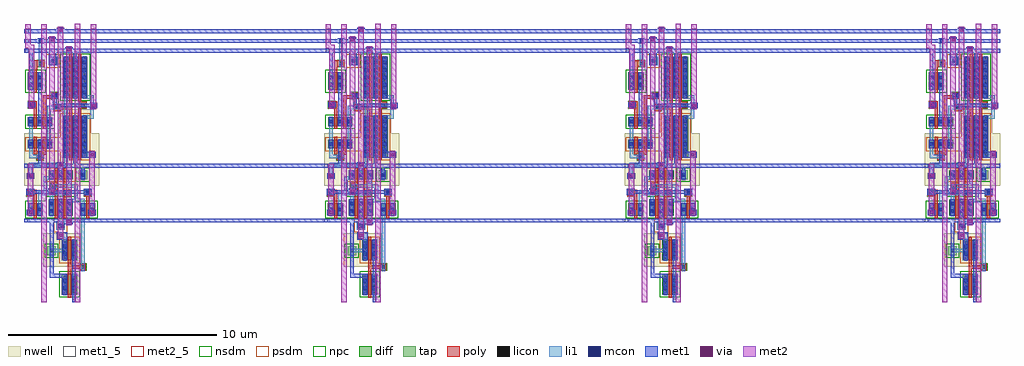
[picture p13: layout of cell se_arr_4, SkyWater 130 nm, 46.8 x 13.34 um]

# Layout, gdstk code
import gdstk
lib = gdstk.Library(unit=1e-6, precision=5e-09)
def R(c, l, rs):  # rectangles x0, y0, x1, y1
    for r in rs: c.add(gdstk.rectangle(r[:2], r[2:], *l))
def A(c, l, x, y, w, h, nx, ny, dx, dy):  # array of equal rectangles
    R(c, l, [(x+i*dx, y+j*dy, x+i*dx+w, y+j*dy+h) for i in range(nx) for j in range(ny)])
nwell = (64, 20)
diff = (65, 20)
tap = (65, 44)
poly = (66, 20)
licon = (66, 44)
li1 = (67, 20)
mcon = (67, 44)
met1_5 = (68, 5)
met1 = (68, 20)
via = (68, 44)
met2_5 = (69, 5)
met2 = (69, 20)
nsdm = (93, 44)
psdm = (94, 20)
npc = (95, 20)

se_amp_f = lib.new_cell('se_amp_f')
R(se_amp_f, nwell, [(0.935,1.685,2.725,3.305), (0,5.58,3.6,8.095), (1.69,8.095,3.22,9.24)])
R(se_amp_f, diff, [(1.815,0.345,2.545,1.345), (1.815,1.995,2.545,2.995), (0.175,4.14,0.905,4.74), (1.175,4.14,2.345,4.94), (2.685,4.14,3.415,4.74), (1.175,5.89,2.345,6.31), (1.87,6.93,3.04,8.93), (0.18,7.365,1.35,7.785), (0.18,8.44,1.35,8.86), (1.87,9.77,3.04,11.77), (0.18,10.17,0.91,11.01)])
R(se_amp_f, tap, [(1.115,2.255,1.525,2.675), (1.55,3.46,1.96,3.87), (2.615,5.89,3.025,6.31), (1.185,11.355,1.595,11.765)])
R(se_amp_f, poly, [(2.105,0.215,2.255,1.59), (2.69,1.51,2.965,1.59), (2.105,1.59,2.965,1.76), (2.105,1.76,2.255,3.125), (2.69,1.76,2.965,1.84), (0.465,4.01,0.615,5.065), (1.465,4.01,1.615,5.43), (1.905,4.01,2.055,5.045), (2.975,4.01,3.125,5.065), (1.905,5.045,2.235,5.375), (0.135,5.065,0.615,5.395), (2.89,5.065,3.22,5.395), (1.905,5.375,2.055,6.44), (1.285,5.43,1.615,5.715), (1.465,5.715,1.615,6.44), (2.16,6.8,2.31,9.24), (2.6,6.8,2.75,9.29), (0.6,6.805,0.93,7.055), (0.47,7.055,1.06,7.235), (0.47,7.235,0.62,7.915), (0.91,7.235,1.06,7.915), (0.47,8.31,0.62,9.295), (0.91,8.31,1.06,9.76), (1.43,9.16,1.76,9.24), (1.43,9.24,2.31,9.41), (2.6,9.29,3,9.615), (0.195,9.295,0.62,9.625), (1.43,9.41,1.76,9.49), (2.16,9.41,2.31,11.9), (2.6,9.615,2.75,11.9), (0.91,9.76,1.64,9.91), (1.31,9.91,1.64,10.035), (0.47,10.04,0.62,11.14), (0.47,11.14,0.625,11.275), (0.47,11.275,0.965,11.605)])
A(se_amp_f, licon, 1.875, 0.42, 0.17, 0.17, 1, 3, 0, 0.34)
A(se_amp_f, licon, 2.315, 0.42, 0.17, 0.17, 1, 3, 0, 0.34)
A(se_amp_f, licon, 1.875, 2.07, 0.17, 0.17, 1, 3, 0, 0.34)
A(se_amp_f, licon, 2.315, 2.07, 0.17, 0.17, 1, 3, 0, 0.34)
A(se_amp_f, licon, 1.235, 4.285, 0.17, 0.17, 3, 2, 0.44, 0.34)
A(se_amp_f, licon, 1.235, 6.015, 0.17, 0.17, 3, 1, 0.44, 0)
A(se_amp_f, licon, 1.93, 6.995, 0.17, 0.17, 3, 6, 0.44, 0.34)
A(se_amp_f, licon, 0.24, 7.49, 0.17, 0.17, 3, 2, 0.44, 1.075)
A(se_amp_f, licon, 1.93, 9.835, 0.17, 0.17, 3, 6, 0.44, 0.34)
R(se_amp_f, licon, [(2.745,1.59,2.915,1.76), (1.235,2.38,1.405,2.55), (1.675,3.58,1.845,3.75), (0.235,4.355,0.405,4.525), (0.675,4.355,0.845,4.525), (2.745,4.355,2.915,4.525), (3.185,4.355,3.355,4.525), (1.985,5.13,2.155,5.3), (0.215,5.145,0.385,5.315), (2.97,5.145,3.14,5.315), (1.365,5.485,1.535,5.655), (2.735,6.015,2.905,6.185), (0.68,6.885,0.85,7.055), (1.51,9.24,1.68,9.41), (2.75,9.365,2.92,9.535), (0.275,9.375,0.445,9.545), (1.39,9.81,1.56,9.98), (0.24,10.335,0.41,10.505), (0.68,10.335,0.85,10.505), (0.24,10.675,0.41,10.845), (0.68,10.675,0.85,10.845), (0.715,11.355,0.885,11.525), (1.31,11.475,1.48,11.645)])
R(se_amp_f, li1, [(1.875,0.325,2.045,1.365), (2.315,0.325,2.485,1.365), (2.745,1.485,2.915,4.79), (1.875,1.975,2.045,2.385), (2.315,1.975,2.485,3.015), (1.235,2.195,1.405,2.385), (1.235,2.385,2.045,2.555), (1.235,2.555,1.405,2.735), (1.875,2.555,2.045,3.015), (1.55,3.46,1.96,3.87), (0.235,4.12,0.405,4.76), (0.675,4.12,0.845,5.13), (1.235,4.12,1.405,5.13), (1.675,4.12,1.845,4.96), (2.115,4.12,2.285,4.79), (3.185,4.12,3.355,4.76), (2.115,4.79,2.915,4.96), (2.405,4.96,2.575,5.485), (0.675,5.13,2.235,5.3), (0.135,5.145,0.465,5.315), (2.89,5.145,3.22,5.315), (0.945,5.3,1.115,5.87), (0.17,5.315,0.43,5.405), (2.925,5.315,3.185,5.405), (1.285,5.485,2.575,5.655), (2.115,5.655,2.285,6.33), (2.735,5.83,2.905,6.37), (0.945,5.87,1.405,6.04), (1.675,5.87,1.845,6.33), (0.23,5.965,0.4,6.52), (1.235,6.04,1.405,6.33), (0.23,6.52,2.1,6.69), (1.93,6.69,2.1,9.365), (0.24,6.885,0.93,7.055), (2.37,6.91,2.54,8.95), (2.81,6.91,2.98,8.785), (0.24,7.055,0.41,8.88), (0.68,7.345,0.85,7.805), (1.12,7.345,1.29,9.24), (0.68,8.42,0.85,8.88), (2.81,8.785,3.34,8.955), (3.17,8.955,3.34,9.75), (1.12,9.24,1.76,9.41), (1.93,9.365,3,9.535), (0.195,9.375,0.525,9.545), (1.93,9.535,2.1,11.79), (2.37,9.75,2.54,11.79), (2.81,9.75,3.34,9.92), (1.31,9.81,1.64,9.98), (2.81,9.92,2.98,11.79), (0.24,10.15,0.41,11.03), (0.68,10.15,0.85,11.03), (0.715,11.275,0.885,12.61), (1.185,11.355,1.595,11.765)])
A(se_amp_f, mcon, 1.235, 4.275, 0.17, 0.17, 3, 2, 0.44, 0.36)
A(se_amp_f, mcon, 1.235, 6.015, 0.17, 0.17, 3, 1, 0.44, 0)
A(se_amp_f, mcon, 1.93, 7.125, 0.17, 0.17, 3, 5, 0.44, 0.36)
A(se_amp_f, mcon, 0.24, 7.49, 0.17, 0.17, 3, 2, 0.44, 1.075)
A(se_amp_f, mcon, 1.93, 9.965, 0.17, 0.17, 3, 5, 0.44, 0.36)
R(se_amp_f, mcon, [(1.875,0.58,2.045,0.75), (2.315,0.58,2.485,0.75), (1.875,0.94,2.045,1.11), (2.315,0.94,2.485,1.11), (1.875,2.23,2.045,2.4), (2.315,2.23,2.485,2.4), (1.875,2.59,2.045,2.76), (2.315,2.59,2.485,2.76), (1.675,3.58,1.845,3.75), (0.235,4.355,0.405,4.525), (0.675,4.355,0.845,4.525), (2.745,4.355,2.915,4.525), (3.185,4.355,3.355,4.525), (0.215,5.19,0.385,5.36), (2.97,5.19,3.14,5.36), (0.23,5.965,0.4,6.135), (2.735,6.015,2.905,6.185), (0.275,9.375,0.445,9.545), (1.39,9.81,1.56,9.98), (0.24,10.325,0.41,10.495), (0.68,10.325,0.85,10.495), (0.24,10.685,0.41,10.855), (0.68,10.685,0.85,10.855), (1.31,11.475,1.48,11.645), (0.715,12.44,0.885,12.61)])
R(se_amp_f, met1_5, [(2.315,0,2.485,0.17), (0,3.83,0.17,4), (0,6.45,0.17,6.62), (0.06,11.965,0.23,12.135), (0.06,12.44,0.23,12.61), (0.06,12.9,0.23,13.07)])
A(se_amp_f, met1, 1.205, 4.14, 0.23, 0.8, 3, 1, 0.44, 0)
A(se_amp_f, met1, 1.205, 5.89, 0.23, 0.42, 3, 1, 0.44, 0)
A(se_amp_f, met1, 0.21, 7.365, 0.23, 0.42, 3, 2, 0.44, 1.075)
A(se_amp_f, met1, 1.9, 9.77, 0.23, 2, 3, 1, 0.44, 0)
R(se_amp_f, met1, [(2.315,0,2.485,0.345), (1.845,0.345,2.075,1.175), (2.285,0.345,2.515,1.345), (1.245,1.175,2.075,1.345), (1.245,1.345,1.415,3.83), (2.315,1.345,2.485,1.995), (1.845,1.995,2.075,2.995), (2.285,1.995,2.515,2.995), (1.58,2.995,2.075,3.345), (1.615,3.55,1.905,3.555), (1.615,3.555,1.91,3.74), (1.615,3.74,2.34,3.83), (0,3.83,3.6,4), (1.675,4,1.845,4.14), (0.205,4.14,0.435,4.17), (0.645,4.14,0.875,4.74), (2.715,4.14,2.945,4.74), (3.155,4.14,3.385,4.17), (0.14,4.17,0.5,4.43), (3.09,4.17,3.45,4.43), (0.205,4.43,0.435,4.74), (3.155,4.43,3.385,4.74), (0.11,5.115,0.49,5.19), (2.865,5.115,3.245,5.19), (0.11,5.19,3.245,5.36), (0.11,5.36,0.49,5.435), (1.17,5.36,1.53,5.45), (2.865,5.36,3.245,5.435), (2.705,5.89,2.935,6.31), (0.135,5.92,0.5,6.18), (1.675,6.31,1.845,6.45), (2.735,6.31,2.905,6.45), (0,6.45,3.6,6.62), (0.675,6.62,0.85,7.365), (1.58,6.62,1.94,6.71), (2.37,6.62,2.545,6.93), (1.9,6.93,2.13,8.93), (2.34,6.93,2.57,8.93), (2.78,6.93,3.45,7.195), (2.78,7.195,3.01,8.93), (0.68,8.86,0.85,10.17), (3.15,9.29,3.51,9.335), (0.18,9.33,0.54,9.59), (1.39,9.335,3.51,9.505), (1.39,9.505,1.56,9.78), (3.15,9.505,3.51,9.55), (1.33,9.78,1.62,10.01), (0.21,10.17,0.44,11.01), (0.65,10.17,0.88,11.01), (0.24,11.01,0.41,11.965), (1.185,11.355,1.545,11.965), (2.37,11.77,2.54,11.965), (0,11.965,3.6,12.135), (1.98,12.135,2.34,12.225), (0.655,12.41,0.945,12.44), (0,12.44,3.6,12.61), (0.655,12.61,0.945,12.64), (1.17,12.61,1.53,12.7), (0,12.9,3.6,13.07), (1.58,13.07,1.94,13.16)])
R(se_amp_f, via, [(1.685,3.135,1.835,3.285), (2.085,3.795,2.235,3.945), (0.245,4.225,0.395,4.375), (3.195,4.225,3.345,4.375), (1.275,5.245,1.425,5.395), (0.24,5.975,0.39,6.125), (1.685,6.505,1.835,6.655), (3.195,6.99,3.345,7.14), (3.255,9.345,3.405,9.495), (0.285,9.385,0.435,9.535), (2.085,12.02,2.235,12.17), (1.275,12.495,1.425,12.645), (1.685,12.955,1.835,13.105)])
R(se_amp_f, met2_5, [(0.06,13.07,0.32,13.33), (0.82,13.07,1.08,13.33), (3.2,13.07,3.46,13.33), (2.44,13.075,2.7,13.335)])
R(se_amp_f, met2, [(0.82,0,1.08,13.33), (2.44,0,2.7,13.335), (1.63,3.03,1.89,13.195), (2.03,3.69,2.29,12.275), (0.19,4.14,0.45,5.87), (3.14,4.14,3.4,7.245), (1.22,5.14,1.48,12.75), (0.185,5.87,0.45,6.23), (0.19,6.23,0.45,6.62), (3.2,9.24,3.46,13.33), (0.23,9.28,0.49,12.17), (0.06,12.17,0.49,12.34), (0.06,12.34,0.32,13.33)])
R(se_amp_f, nsdm, [(1.69,0.22,2.67,1.47), (0.99,2.13,1.65,2.8), (0.05,4.015,3.54,4.865), (1.05,4.865,2.47,5.065), (2.49,5.765,3.15,6.435), (0.055,8.315,1.475,8.985), (1.745,9.645,3.165,11.895), (0.055,10.045,1.035,11.135)])
R(se_amp_f, psdm, [(1.69,1.87,2.67,3.12), (1.69,3.12,2.085,3.335), (1.425,3.335,2.085,3.995), (1.05,5.765,2.47,6.435), (1.745,6.435,2.47,6.805), (1.745,6.805,3.165,7.24), (0.055,7.24,3.165,7.91), (1.745,7.91,3.165,9.055), (1.06,11.23,1.72,11.89)])
R(se_amp_f, npc, [(2.645,1.49,3.015,1.86), (1.885,5.03,2.255,5.255), (0.115,5.045,0.485,5.415), (2.87,5.045,3.24,5.415), (1.405,5.255,2.255,5.385), (1.265,5.385,2.255,5.4), (1.265,5.4,2.115,5.53), (1.265,5.53,1.635,5.755), (0.58,6.785,0.95,7.155), (1.41,9.14,1.78,9.435), (2.65,9.265,3.02,9.635), (0.175,9.275,0.545,9.645), (1.4,9.435,1.78,9.51), (1.4,9.51,1.67,9.71), (1.29,9.71,1.67,9.785), (1.29,9.785,1.66,10.08), (0.615,11.255,0.985,11.625)])
se_amp_f.add(gdstk.Label('DR_', (0.19,13.2), layer=69, texttype=5))
se_amp_f.add(gdstk.Label('DW_', (0.95,13.2), layer=69, texttype=5))
se_amp_f.add(gdstk.Label('DW', (2.57,13.205), layer=69, texttype=5))
se_amp_f.add(gdstk.Label('DR', (3.33,13.2), layer=69, texttype=5))
se_amp_f.add(gdstk.Label('VDD', (0.145,12.985), layer=68, texttype=5))
se_amp_f.add(gdstk.Label('SAEN', (0.145,12.525), layer=68, texttype=5))
se_amp_f.add(gdstk.Label('VSS', (0.145,12.05), layer=68, texttype=5))
se_amp_f.add(gdstk.Label('SB', (2.4,0.085), layer=68, texttype=5))
se_amp_f.add(gdstk.Label('VDD', (0.085,6.535), layer=68, texttype=5))
se_amp_f.add(gdstk.Label('VSS', (0.085,3.915), layer=68, texttype=5))

se_arr_4 = lib.new_cell('se_arr_4')
R(se_arr_4, met1, [(0.085,3.83,43.345,4), (0.085,3.83,43.345,4), (0.085,3.83,43.345,4), (0.085,3.83,43.345,4), (0.085,6.45,43.345,6.62), (0.085,6.45,43.345,6.62), (0.085,6.45,43.345,6.62), (0.085,6.45,43.345,6.62), (0.085,11.965,43.345,12.135), (0.085,11.965,43.345,12.135), (0.085,11.965,43.345,12.135), (0.085,11.965,43.345,12.135), (0.085,12.44,43.345,12.61), (0.085,12.44,43.345,12.61), (0.085,12.44,43.345,12.61), (0.085,12.44,43.345,12.61), (0.085,12.9,43.345,13.07), (0.085,12.9,43.345,13.07), (0.085,12.9,43.345,13.07), (0.085,12.9,43.345,13.07)])
r = gdstk.Reference(se_amp_f, (0,0)); r.repetition = gdstk.Repetition(4, 1, v1=(14.4,0), v2=(0,13.335)); se_arr_4.add(r)

lib.write_gds('se_arr_4.gds')
